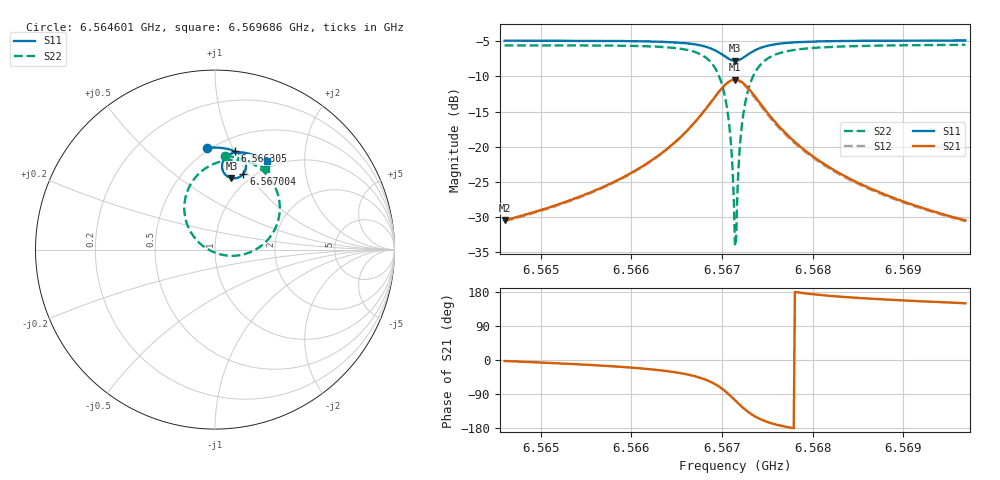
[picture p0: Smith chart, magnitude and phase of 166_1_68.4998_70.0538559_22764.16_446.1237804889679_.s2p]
#  HZ  S  RI  R  50.00
! Rohde & Schwarz Vector Network Analyzer
! Rohde-Schwarz,ZNB20-2Port,1311601062101988,3.16
! Created: UTC 3/20/2024, 5:11:08 PM
! freq[Hz]  re:S11  im:S11  re:S21  im:S21  re:S12  im:S12  re:S22  im:S22
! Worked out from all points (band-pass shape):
!   401 points, 6.564601 GHz to 6.569686 GHz, reference 50 ohm
!   highest |S21| = -10.45 dB at 6.567144 GHz (marker M1); lowest = -30.5 dB at 6.564601 GHz (marker M2)
!   |S21| within 3 dB of the highest: 6.566891 GHz to 6.567399 GHz (507.7 kHz wide, 0.00773 % of centre)
!   lowest |S11| = -7.8 dB at 6.567144 GHz (marker M3), VSWR 2.38, Z = 42.3 + j40.5 ohm
!   |S11| at or under -10 dB: nowhere
!   |S22| runs from -34.2 to -5.5 dB; largest |S21 - S12| = 0.015
!   S11 on the Smith chart (normalised r, x): 6.564601 GHz: 0.48, +0.80; 6.566305 GHz: 0.63, +1.00; 6.567004 GHz: 0.90, +0.95; 6.569686 GHz: 0.90, +1.31
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6.5646012e9  -0.044 0.5674  0.0298 -0.00137  0.0294 -0.00176  0.0568 0.5229
6.565453e9  0.0268 0.567  0.0437 -0.0093  0.043 -0.00986  0.1402 0.5067
6.5663047e9  0.1092 0.5486  0.0777 -0.0393  0.0765 -0.0401  0.2607 0.4439
6.5665971e9  0.1443 0.5265  0.101 -0.0764  0.0993 -0.0779  0.3231 0.3706
6.5668005e9  0.1683 0.4917  0.1143 -0.1371  0.1114 -0.1399  0.3604 0.2535
6.5669149e9  0.1724 0.457  0.1028 -0.1977  0.0977 -0.2015  0.344 0.1381
6.5670039e9  0.1588 0.4234  0.0622 -0.2552  0.0532 -0.2587  0.2694 0.0306
6.567042e9  0.1452 0.4102  0.0311 -0.2768  0.0202 -0.2786  0.2117 -0.0078
6.5670801e9  0.1273 0.4007  -0.00823 -0.291  -0.0208 -0.2904  0.1391 -0.0312
6.5671056e9  0.1133 0.3976  -0.0378 -0.2945  -0.051 -0.2916  0.0856 -0.0347
6.567131e9  0.0986 0.3974  -0.0683 -0.2921  -0.0814 -0.2869  0.0312 -0.027
6.5671437e9  0.0914 0.3987  -0.0834 -0.2886  -0.0963 -0.2823  0.00468 -0.019
6.5671564e9  0.0842 0.4008  -0.0981 -0.2836  -0.1105 -0.2762  -0.0207 -0.00822
6.5671691e9  0.0774 0.4035  -0.1122 -0.2772  -0.124 -0.2686  -0.0448 0.00483
6.5671946e9  0.0649 0.4112  -0.1376 -0.2607  -0.1478 -0.2502  -0.0874 0.0374
6.5672327e9  0.0506 0.4265  -0.1673 -0.2294  -0.1746 -0.2173  -0.1346 0.0966
6.5672835e9  0.0407 0.45  -0.1899 -0.1831  -0.193 -0.1707  -0.1663 0.1807
6.5673471e9  0.0404 0.4773  -0.196 -0.1301  -0.1956 -0.1192  -0.1677 0.2739
6.5675759e9  0.0784 0.5289  -0.1498 -0.0287  -0.1466 -0.0242  -0.065 0.4441
6.5679954e9  0.1418 0.5423  -0.0855 0.0094  -0.0835 0.0106  0.0771 0.4984
6.5688472e9  0.2239 0.5232  -0.0415 0.0157  -0.0405 0.0161  0.2086 0.4825
6.5696862e9  0.287 0.4933  -0.0257 0.0151  -0.0253 0.015  0.2855 0.4484
